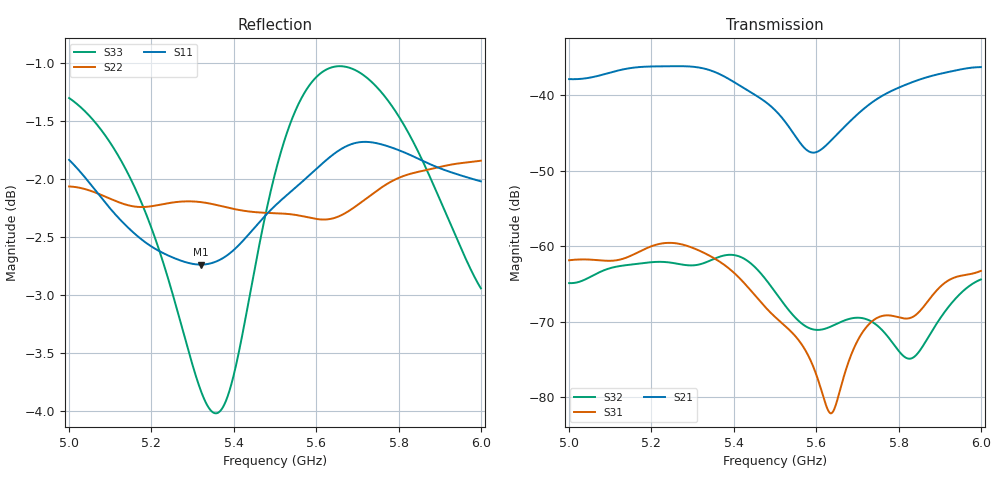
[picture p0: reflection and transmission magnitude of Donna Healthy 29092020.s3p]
! TOUCHSTONE file generated by CST MICROWAVE STUDIO
! Date and time: Tue Sep 29 16:45:19 2020
! Project name: Donna Lung Lower Right.cst
! Header version: 2018
! Port assignment regex: !\s*Touchstone port\s*([0-9]+)\s*=\s*(CST MWS port|CST DS port)\s*([0-9]+|Zmin|Zmax)\s*\(\"(.*)\"\)(\s*mode\s*([0-9]+))?.*
! Touchstone port assignment:
! Touchstone port 1 = CST MWS port 1 ("")
! Touchstone port 2 = CST MWS port 2 ("")
! Touchstone port 3 = CST MWS port 3 ("")
# GHz S RI R 50
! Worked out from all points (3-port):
!   1001 points, 5 GHz to 6 GHz, reference 50 ohm
!   strongest paths, dB at 5 GHz, 5.25 GHz, 5.5 GHz, 5.75 GHz, 6 GHz:
!     S21: -37.9, -36.2, -42.0, -40.4, -36.3
!     S31: -61.9, -59.6, -69.4, -69.5, -63.3
!     S32: -64.9, -62.2, -66.0, -70.6, -64.4
!   lowest |S11| = -2.7 dB at 5.32 GHz (marker M1), VSWR 6.40, Z = 319 + j14.9 ohm
!   |S11| at or under -10 dB: nowhere
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5  0.8078 -0.057  0.00642 -0.011  0.000453 0.000672
   0.00646 -0.011  0.7885 -0.019  8.95e-06 0.000562
   0.000448 0.00067  3.24e-05 0.000568  0.8596 -0.0505
5.32  0.7298 0.0109  -0.00853 0.0125  0.000152 0.00091
      -0.00852 0.0125  0.7766 0.00154  -0.000579 0.000501
      0.000149 0.000911  -0.000573 0.0005  0.6432 -0.0303
5.414  0.7432 0.0472  0.00494 0.0105  0.000565 -0.000244
       0.00495 0.0105  0.7704 0.00605  0.000717 0.000454
       0.000563 -0.000244  0.000721 0.000455  0.6617 0.1147
5.5  0.7713 0.0613  0.00756 0.00247  -6.01e-05 -0.000333
     0.00756 0.00247  0.7679 0.0145  0.000204 -0.000458
     -6.15e-05 -0.000334  0.000205 -0.000454  0.7831 0.1578
5.585  0.7956 0.0623  0.0042 0.000175  -0.000177 -2.74e-05
       0.0042 0.000181  0.7643 0.0227  -0.000145 -0.000245
       -0.000176 -2.9e-05  -0.000148 -0.000244  0.8663 0.1066
5.618  0.8056 0.0596  0.00443 0.000671  -9.75e-05 4.68e-06
       0.00444 0.000669  0.7627 0.0294  -0.000212 -0.00019
       -9.92e-05 4.71e-06  -0.00021 -0.000188  0.8809 0.0787
5.648  0.814 0.0543  0.00538 0.000546  -7.91e-05 -4.4e-05
       0.00538 0.000541  0.7639 0.037  -0.000284 -0.00011
       -7.88e-05 -4.23e-05  -0.000282 -0.000113  0.8869 0.0534
5.727  0.8237 0.0324  0.00777 -0.00364  -0.000274 0.000122
       0.00778 -0.00365  0.779 0.0507  -0.0002 0.000255
       -0.000276 0.000122  -0.000197 0.000258  0.8774 -0.0055
5.83  0.8134 0.0134  0.00124 -0.012  0.000169 0.000293
      0.00125 -0.012  0.7974 0.0481  7.61e-05 0.000156
      0.000164 0.000292  8e-05 0.000161  0.8264 -0.0534
6  0.7926 0.0158  -0.015 0.00307  -0.000185 -0.000647
   -0.015 0.00311  0.808 0.0435  0.000154 -0.000581
   -0.000171 -0.000664  0.000127 -0.000588  0.7128 -0.0121
